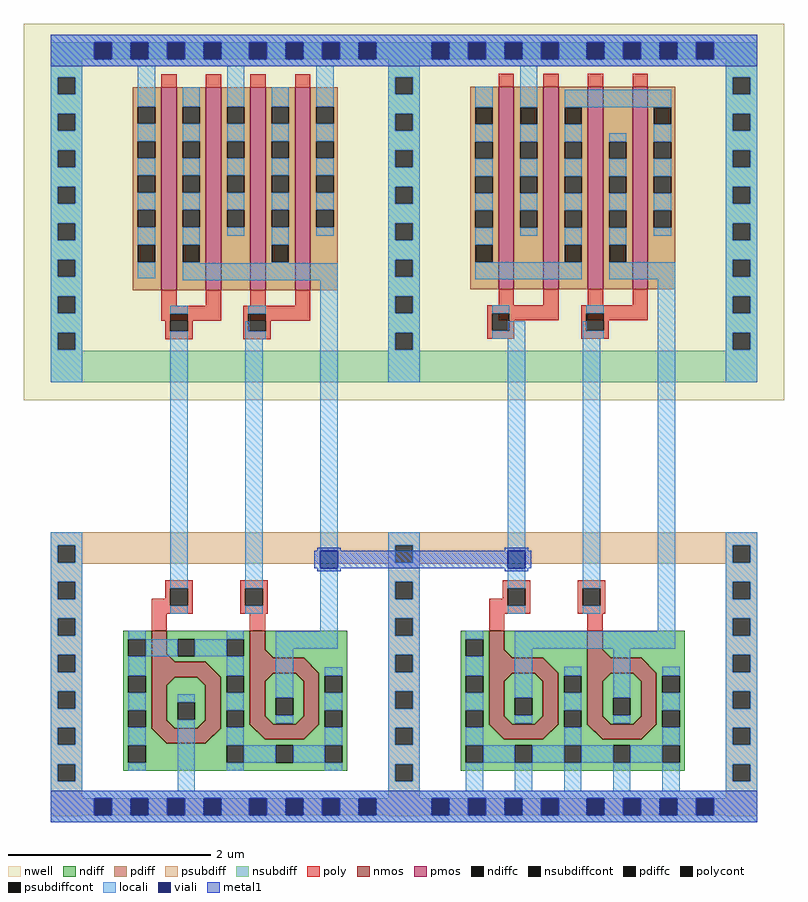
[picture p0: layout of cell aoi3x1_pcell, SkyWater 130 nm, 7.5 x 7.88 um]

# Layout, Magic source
magic
tech sky130A
magscale 1 2
<< metal1 >>
rect 537 501 841 535
use li1_M1_contact  li1_M1_contact_0
transform -1 0 518 0 -1 518
box -53 -33 29 33
use li1_M1_contact  li1_M1_contact_1
transform 1 0 888 0 1 518
box -53 -33 29 33
use nor2x1_pcell  nor2x1_pcell_0
transform 1 0 666 0 1 0
box -84 0 750 1575
use nand2x1_pcell  nand2x1_pcell_0
transform 1 0 0 0 1 0
box -84 0 750 1575
<< end >>

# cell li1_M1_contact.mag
magic
tech sky130
magscale 1 2
<< locali >>
rect -17 17 17 33
rect -17 -33 17 -17
<< viali >>
rect -17 -17 17 17
<< metal1 >>
rect -23 17 23 23
rect -53 -17 -17 17
rect 17 -17 29 17
rect -23 -23 23 -17
<< end >>

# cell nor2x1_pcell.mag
magic
tech sky130A
magscale 1 2
<< nwell >>
rect 84 903 582 1575
rect 83 832 582 903
<< pdiffc >>
rect 141 1377 175 1411
rect 229 1377 263 1411
rect 317 1377 351 1411
rect 493 1377 527 1411
rect 141 1105 175 1139
rect 317 1105 351 1139
rect 405 1105 439 1139
<< psubdiff >>
rect 31 510 635 572
rect 31 13 55 47
rect 89 13 127 47
rect 161 13 199 47
rect 233 13 271 47
rect 305 13 361 47
rect 395 13 433 47
rect 467 13 505 47
rect 539 13 577 47
rect 611 13 635 47
<< nsubdiff >>
rect 31 1505 55 1539
rect 89 1505 127 1539
rect 161 1505 199 1539
rect 233 1505 271 1539
rect 305 1505 361 1539
rect 395 1505 433 1539
rect 467 1505 505 1539
rect 539 1505 577 1539
rect 611 1505 635 1539
rect 31 868 635 930
<< psubdiffcont >>
rect 55 13 89 47
rect 127 13 161 47
rect 199 13 233 47
rect 271 13 305 47
rect 361 13 395 47
rect 433 13 467 47
rect 505 13 539 47
rect 577 13 611 47
<< nsubdiffcont >>
rect 55 1505 89 1539
rect 127 1505 161 1539
rect 199 1505 233 1539
rect 271 1505 305 1539
rect 361 1505 395 1539
rect 433 1505 467 1539
rect 505 1505 539 1539
rect 577 1505 611 1539
<< poly >>
rect 168 403 198 441
rect 362 410 392 411
<< locali >>
rect 31 1539 635 1554
rect 31 1505 55 1539
rect 89 1505 127 1539
rect 161 1505 199 1539
rect 233 1505 271 1539
rect 305 1505 361 1539
rect 395 1505 433 1539
rect 467 1505 505 1539
rect 539 1505 577 1539
rect 611 1505 635 1539
rect 31 1492 635 1505
rect 141 1411 175 1451
rect 141 1359 175 1377
rect 229 1411 263 1492
rect 229 1359 263 1377
rect 317 1411 527 1445
rect 317 1359 351 1377
rect 493 1359 527 1377
rect 141 1139 175 1157
rect 317 1139 351 1157
rect 141 1071 351 1105
rect 405 1139 439 1157
rect 405 1071 535 1105
rect 205 461 239 988
rect 353 954 361 988
rect 353 469 387 954
rect 353 461 357 469
rect 501 376 535 1071
rect 219 342 535 376
rect 219 261 253 342
rect 413 261 447 342
rect 122 62 156 101
rect 219 62 253 117
rect 316 62 350 101
rect 413 62 447 117
rect 510 62 544 101
rect 31 47 635 62
rect 31 13 55 47
rect 89 13 127 47
rect 161 13 199 47
rect 233 13 271 47
rect 305 13 361 47
rect 395 13 433 47
rect 467 13 505 47
rect 539 13 577 47
rect 611 13 635 47
rect 31 0 635 13
<< viali >>
rect 55 1505 89 1539
rect 127 1505 161 1539
rect 199 1505 233 1539
rect 271 1505 305 1539
rect 361 1505 395 1539
rect 433 1505 467 1539
rect 505 1505 539 1539
rect 577 1505 611 1539
rect 55 13 89 47
rect 127 13 161 47
rect 199 13 233 47
rect 271 13 305 47
rect 361 13 395 47
rect 433 13 467 47
rect 505 13 539 47
rect 577 13 611 47
<< metal1 >>
rect 31 1539 635 1554
rect 31 1505 55 1539
rect 89 1505 127 1539
rect 161 1505 199 1539
rect 233 1505 271 1539
rect 305 1505 361 1539
rect 395 1505 433 1539
rect 467 1505 505 1539
rect 539 1505 577 1539
rect 611 1505 635 1539
rect 31 1492 635 1505
rect 31 47 635 62
rect 31 13 55 47
rect 89 13 127 47
rect 161 13 199 47
rect 233 13 271 47
rect 305 13 361 47
rect 395 13 433 47
rect 467 13 505 47
rect 539 13 577 47
rect 611 13 635 47
rect 31 0 635 13
use diff_ring_side  diff_ring_side_1
transform 1 0 0 0 1 0
box -84 0 84 1575
use poly_li1_contact  poly_li1_contact_0
transform 0 1 192 -1 0 988
box -32 -28 34 26
use poly_li1_contact  poly_li1_contact_1
transform 0 1 223 -1 0 445
box -32 -28 34 26
use nmos_top_trim1  nmos_top_trim1_1
transform -1 0 360 0 1 101
box 0 0 248 309
use pmos2_1  pmos2_1_0
transform 1 0 43 0 1 1450
box 52 -460 352 37
use nmos_top_trim2  nmos_top_trim2_0
transform -1 0 554 0 1 101
box 0 0 248 309
use poly_li1_contact  poly_li1_contact_3
transform 0 1 378 -1 0 988
box -32 -28 34 26
use poly_li1_contact  poly_li1_contact_2
transform 0 -1 369 1 0 443
box -32 -28 34 26
use pmos2_1  pmos2_1_1
transform 1 0 219 0 1 1450
box 52 -460 352 37
use diff_ring_side  diff_ring_side_0
transform 1 0 666 0 1 0
box -84 0 84 1575
<< end >>

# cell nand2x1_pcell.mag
magic
tech sky130A
magscale 1 2
<< nwell >>
rect 84 903 582 1575
rect 83 832 582 903
<< pdiffc >>
rect 141 1105 175 1139
rect 229 1105 263 1139
rect 405 1105 439 1139
<< psubdiff >>
rect 31 510 635 572
rect 31 13 55 47
rect 89 13 127 47
rect 161 13 199 47
rect 233 13 271 47
rect 305 13 361 47
rect 395 13 433 47
rect 467 13 505 47
rect 539 13 577 47
rect 611 13 635 47
<< nsubdiff >>
rect 31 1505 55 1539
rect 89 1505 127 1539
rect 161 1505 199 1539
rect 233 1505 271 1539
rect 305 1505 361 1539
rect 395 1505 433 1539
rect 467 1505 505 1539
rect 539 1505 577 1539
rect 611 1505 635 1539
rect 31 868 635 930
<< psubdiffcont >>
rect 55 13 89 47
rect 127 13 161 47
rect 199 13 233 47
rect 271 13 305 47
rect 361 13 395 47
rect 433 13 467 47
rect 505 13 539 47
rect 577 13 611 47
<< nsubdiffcont >>
rect 55 1505 89 1539
rect 127 1505 161 1539
rect 199 1505 233 1539
rect 271 1505 305 1539
rect 361 1505 395 1539
rect 433 1505 467 1539
rect 505 1505 539 1539
rect 577 1505 611 1539
<< poly >>
rect 168 403 198 441
rect 362 410 392 411
<< locali >>
rect 31 1539 635 1554
rect 31 1505 55 1539
rect 89 1505 127 1539
rect 161 1505 199 1539
rect 233 1505 271 1539
rect 305 1505 361 1539
rect 395 1505 433 1539
rect 467 1505 505 1539
rect 539 1505 577 1539
rect 611 1505 635 1539
rect 31 1492 635 1505
rect 141 1139 175 1157
rect 141 1073 175 1105
rect 229 1139 263 1157
rect 229 1103 263 1105
rect 405 1139 439 1157
rect 405 1103 439 1105
rect 229 1069 535 1103
rect 353 954 361 988
rect 205 461 239 954
rect 353 469 387 954
rect 353 461 357 469
rect 501 376 535 1069
rect 413 342 535 376
rect 413 261 447 342
rect 219 62 253 195
rect 31 47 635 62
rect 31 13 55 47
rect 89 13 127 47
rect 161 13 199 47
rect 233 13 271 47
rect 305 13 361 47
rect 395 13 433 47
rect 467 13 505 47
rect 539 13 577 47
rect 611 13 635 47
rect 31 0 635 13
<< viali >>
rect 55 1505 89 1539
rect 127 1505 161 1539
rect 199 1505 233 1539
rect 271 1505 305 1539
rect 361 1505 395 1539
rect 433 1505 467 1539
rect 505 1505 539 1539
rect 577 1505 611 1539
rect 55 13 89 47
rect 127 13 161 47
rect 199 13 233 47
rect 271 13 305 47
rect 361 13 395 47
rect 433 13 467 47
rect 505 13 539 47
rect 577 13 611 47
<< metal1 >>
rect 31 1539 635 1554
rect 31 1505 55 1539
rect 89 1505 127 1539
rect 161 1505 199 1539
rect 233 1505 271 1539
rect 305 1505 361 1539
rect 395 1505 433 1539
rect 467 1505 505 1539
rect 539 1505 577 1539
rect 611 1505 635 1539
rect 31 1492 635 1505
rect 31 47 635 62
rect 31 13 55 47
rect 89 13 127 47
rect 161 13 199 47
rect 233 13 271 47
rect 305 13 361 47
rect 395 13 433 47
rect 467 13 505 47
rect 539 13 577 47
rect 611 13 635 47
rect 31 0 635 13
use diff_ring_side  diff_ring_side_1
transform 1 0 0 0 1 0
box -84 0 84 1575
use nmos_bottom  nmos_bottom_0
transform -1 0 360 0 1 101
box 0 0 248 302
use poly_li1_contact  poly_li1_contact_0
transform 0 1 223 -1 0 987
box -32 -28 34 26
use poly_li1_contact  poly_li1_contact_1
transform 0 1 223 -1 0 445
box -32 -28 34 26
use pmos2  pmos2_0
transform 1 0 43 0 1 1450
box 52 -461 352 42
use poly_li1_contact  poly_li1_contact_3
transform 0 1 377 -1 0 987
box -32 -28 34 26
use poly_li1_contact  poly_li1_contact_2
transform 0 -1 369 1 0 443
box -32 -28 34 26
use pmos2  pmos2_1
transform 1 0 219 0 1 1450
box 52 -461 352 42
use nmos_top_trim1  nmos_top_trim1_0
transform -1 0 554 0 1 101
box 0 0 248 309
use diff_ring_side  diff_ring_side_0
transform 1 0 666 0 1 0
box -84 0 84 1575
<< end >>

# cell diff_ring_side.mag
magic
tech sky130A
magscale 1 2
<< nwell >>
rect -84 832 84 1575
<< psubdiff >>
rect -31 546 31 572
rect -31 512 -17 546
rect 17 512 31 546
rect -31 474 31 512
rect -31 440 -17 474
rect 17 440 31 474
rect -31 402 31 440
rect -31 368 -17 402
rect 17 368 31 402
rect -31 330 31 368
rect -31 296 -17 330
rect 17 296 31 330
rect -31 258 31 296
rect -31 224 -17 258
rect 17 224 31 258
rect -31 186 31 224
rect -31 152 -17 186
rect 17 152 31 186
rect -31 114 31 152
rect -31 80 -17 114
rect 17 80 31 114
rect -31 11 31 80
<< nsubdiff >>
rect -31 1470 31 1539
rect -31 1436 -17 1470
rect 17 1436 31 1470
rect -31 1398 31 1436
rect -31 1364 -17 1398
rect 17 1364 31 1398
rect -31 1326 31 1364
rect -31 1292 -17 1326
rect 17 1292 31 1326
rect -31 1254 31 1292
rect -31 1220 -17 1254
rect 17 1220 31 1254
rect -31 1182 31 1220
rect -31 1148 -17 1182
rect 17 1148 31 1182
rect -31 1110 31 1148
rect -31 1076 -17 1110
rect 17 1076 31 1110
rect -31 1038 31 1076
rect -31 1004 -17 1038
rect 17 1004 31 1038
rect -31 966 31 1004
rect -31 932 -17 966
rect 17 932 31 966
rect -31 868 31 932
<< psubdiffcont >>
rect -17 512 17 546
rect -17 440 17 474
rect -17 368 17 402
rect -17 296 17 330
rect -17 224 17 258
rect -17 152 17 186
rect -17 80 17 114
<< nsubdiffcont >>
rect -17 1436 17 1470
rect -17 1364 17 1398
rect -17 1292 17 1326
rect -17 1220 17 1254
rect -17 1148 17 1182
rect -17 1076 17 1110
rect -17 1004 17 1038
rect -17 932 17 966
<< locali >>
rect -31 1470 31 1554
rect -31 1436 -17 1470
rect 17 1436 31 1470
rect -31 1398 31 1436
rect -31 1364 -17 1398
rect 17 1364 31 1398
rect -31 1326 31 1364
rect -31 1292 -17 1326
rect 17 1292 31 1326
rect -31 1254 31 1292
rect -31 1220 -17 1254
rect 17 1220 31 1254
rect -31 1182 31 1220
rect -31 1148 -17 1182
rect 17 1148 31 1182
rect -31 1110 31 1148
rect -31 1076 -17 1110
rect 17 1076 31 1110
rect -31 1038 31 1076
rect -31 1004 -17 1038
rect 17 1004 31 1038
rect -31 966 31 1004
rect -31 932 -17 966
rect 17 932 31 966
rect -31 868 31 932
rect -31 546 31 572
rect -31 512 -17 546
rect 17 512 31 546
rect -31 474 31 512
rect -31 440 -17 474
rect 17 440 31 474
rect -31 402 31 440
rect -31 368 -17 402
rect 17 368 31 402
rect -31 330 31 368
rect -31 296 -17 330
rect 17 296 31 330
rect -31 258 31 296
rect -31 224 -17 258
rect 17 224 31 258
rect -31 186 31 224
rect -31 152 -17 186
rect 17 152 31 186
rect -31 114 31 152
rect -31 80 -17 114
rect 17 80 31 114
rect -31 0 31 80
<< metal1 >>
rect -31 1492 31 1554
rect -31 0 31 62
<< end >>

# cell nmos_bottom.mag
magic
tech sky130A
magscale 1 2
<< nmos >>
tri 146 215 162 231 se
rect 162 215 192 276
tri 56 185 86 215 se
rect 86 185 192 215
rect 56 84 86 185
tri 86 169 102 185 nw
tri 146 169 162 185 ne
tri 86 84 102 100 sw
tri 146 84 162 100 se
rect 162 84 192 185
tri 56 54 86 84 ne
rect 86 54 162 84
tri 162 54 192 84 nw
<< ndiff >>
rect 0 260 162 276
rect 0 226 10 260
rect 44 226 107 260
rect 141 231 162 260
rect 141 226 146 231
rect 0 215 146 226
tri 146 215 162 231 nw
rect 192 260 248 276
rect 192 226 204 260
rect 238 226 248 260
rect 0 188 56 215
rect 0 154 10 188
rect 44 154 56 188
tri 56 185 86 215 nw
rect 192 188 248 226
rect 0 120 56 154
rect 0 86 10 120
rect 44 86 56 120
rect 0 54 56 86
tri 86 169 102 185 se
rect 102 169 146 185
tri 146 169 162 185 sw
rect 86 135 162 169
rect 86 101 107 135
rect 141 101 162 135
rect 86 100 162 101
tri 86 84 102 100 ne
rect 102 84 146 100
tri 146 84 162 100 nw
rect 192 154 204 188
rect 238 154 248 188
rect 192 120 248 154
rect 192 86 204 120
rect 238 86 248 120
tri 56 54 86 84 sw
tri 162 54 192 84 se
rect 192 54 248 86
rect 0 50 248 54
rect 0 16 10 50
rect 44 16 204 50
rect 238 16 248 50
rect 0 0 248 16
<< ndiffc >>
rect 10 226 44 260
rect 107 226 141 260
rect 204 226 238 260
rect 10 154 44 188
rect 10 86 44 120
rect 107 101 141 135
rect 204 154 238 188
rect 204 86 238 120
rect 10 16 44 50
rect 204 16 238 50
<< poly >>
rect 162 276 192 302
<< locali >>
rect 10 260 44 276
rect 204 260 238 276
rect 44 226 107 260
rect 141 226 204 260
rect 10 188 44 226
rect 10 120 44 154
rect 204 188 238 226
rect 10 50 44 86
rect 107 135 141 151
rect 107 85 141 101
rect 204 120 238 154
rect 10 0 44 16
rect 204 50 238 86
rect 204 0 238 16
<< end >>

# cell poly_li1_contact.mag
magic
tech sky130A
<< poly >>
rect -16 8 17 13
rect -16 -9 -8 8
rect 9 -9 17 8
rect -16 -14 17 -9
<< polycont >>
rect -8 -9 9 8
<< locali >>
rect -16 -9 -8 8
rect 9 -9 17 8
<< end >>

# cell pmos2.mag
magic
tech sky130
magscale 1 2
<< nwell >>
rect 52 -436 352 36
<< pmos >>
rect 144 -400 174 0
rect 232 -400 262 0
<< pdiff >>
rect 88 -38 144 0
rect 88 -72 98 -38
rect 132 -72 144 -38
rect 88 -106 144 -72
rect 88 -140 98 -106
rect 132 -140 144 -106
rect 88 -174 144 -140
rect 88 -208 98 -174
rect 132 -208 144 -174
rect 88 -242 144 -208
rect 88 -276 98 -242
rect 132 -276 144 -242
rect 88 -400 144 -276
rect 174 -38 232 0
rect 174 -72 186 -38
rect 220 -72 232 -38
rect 174 -106 232 -72
rect 174 -140 186 -106
rect 220 -140 232 -106
rect 174 -174 232 -140
rect 174 -208 186 -174
rect 220 -208 232 -174
rect 174 -242 232 -208
rect 174 -276 186 -242
rect 220 -276 232 -242
rect 174 -400 232 -276
rect 262 -38 316 0
rect 262 -72 274 -38
rect 308 -72 316 -38
rect 262 -106 316 -72
rect 262 -140 274 -106
rect 308 -140 316 -106
rect 262 -174 316 -140
rect 262 -208 274 -174
rect 308 -208 316 -174
rect 262 -242 316 -208
rect 262 -276 274 -242
rect 308 -276 316 -242
rect 262 -400 316 -276
<< pdiffc >>
rect 98 -72 132 -38
rect 98 -140 132 -106
rect 98 -208 132 -174
rect 98 -276 132 -242
rect 186 -72 220 -38
rect 186 -140 220 -106
rect 186 -208 220 -174
rect 186 -276 220 -242
rect 274 -72 308 -38
rect 274 -140 308 -106
rect 274 -208 308 -174
rect 274 -276 308 -242
<< poly >>
rect 144 0 174 26
rect 232 0 262 26
rect 144 -431 174 -400
rect 232 -431 262 -400
rect 144 -461 262 -431
<< locali >>
rect 98 -38 132 42
rect 98 -106 132 -72
rect 98 -174 132 -140
rect 98 -242 132 -208
rect 98 -293 132 -276
rect 186 -38 220 0
rect 186 -106 220 -72
rect 186 -174 220 -140
rect 186 -242 220 -208
rect 186 -293 220 -276
rect 274 -38 308 42
rect 274 -106 308 -72
rect 274 -174 308 -140
rect 274 -242 308 -208
rect 274 -293 308 -276
<< end >>

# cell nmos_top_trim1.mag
magic
tech sky130A
magscale 1 2
<< nmos >>
tri 146 223 162 239 se
rect 162 223 192 276
tri 56 193 86 223 se
rect 86 193 192 223
rect 56 92 86 193
tri 86 177 102 193 nw
tri 146 177 162 193 ne
tri 86 92 102 108 sw
tri 146 92 162 108 se
rect 162 92 192 193
tri 56 62 86 92 ne
rect 86 62 162 92
tri 162 62 192 92 nw
<< ndiff >>
rect 0 239 162 276
rect 0 223 146 239
tri 146 223 162 239 nw
rect 192 260 248 276
rect 192 226 204 260
rect 238 226 248 260
rect 0 188 56 223
tri 56 193 86 223 nw
rect 0 154 10 188
rect 44 154 56 188
rect 0 120 56 154
rect 0 86 10 120
rect 44 86 56 120
tri 86 177 102 193 se
rect 102 177 146 193
tri 146 177 162 193 sw
rect 86 144 162 177
rect 86 110 107 144
rect 141 110 162 144
rect 86 108 162 110
tri 86 92 102 108 ne
rect 102 92 146 108
tri 146 92 162 108 nw
rect 192 188 248 226
rect 192 154 204 188
rect 238 154 248 188
rect 192 120 248 154
rect 0 62 56 86
tri 56 62 86 92 sw
tri 162 62 192 92 se
rect 192 86 204 120
rect 238 86 248 120
rect 192 62 248 86
rect 0 50 248 62
rect 0 16 10 50
rect 44 16 107 50
rect 141 16 204 50
rect 238 16 248 50
rect 0 0 248 16
<< ndiffc >>
rect 204 226 238 260
rect 10 154 44 188
rect 10 86 44 120
rect 107 110 141 144
rect 204 154 238 188
rect 204 86 238 120
rect 10 16 44 50
rect 107 16 141 50
rect 204 16 238 50
<< poly >>
rect 162 276 192 309
<< locali >>
rect 204 260 238 276
rect 10 188 44 204
rect 204 188 238 226
rect 10 120 44 154
rect 107 144 141 161
rect 107 94 141 110
rect 204 120 238 154
rect 10 50 44 86
rect 204 50 238 86
rect 44 16 107 50
rect 141 16 204 50
rect 10 0 44 16
rect 204 0 238 16
<< end >>

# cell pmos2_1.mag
magic
tech sky130
magscale 1 2
<< nwell >>
rect 52 -435 352 37
<< pmos >>
rect 144 -399 174 1
rect 232 -399 262 1
<< pdiff >>
rect 88 -107 144 1
rect 88 -141 98 -107
rect 132 -141 144 -107
rect 88 -175 144 -141
rect 88 -209 98 -175
rect 132 -209 144 -175
rect 88 -243 144 -209
rect 88 -277 98 -243
rect 132 -277 144 -243
rect 88 -399 144 -277
rect 174 -107 232 1
rect 174 -141 186 -107
rect 220 -141 232 -107
rect 174 -175 232 -141
rect 174 -209 186 -175
rect 220 -209 232 -175
rect 174 -243 232 -209
rect 174 -277 186 -243
rect 220 -277 232 -243
rect 174 -399 232 -277
rect 262 -107 316 1
rect 262 -141 274 -107
rect 308 -141 316 -107
rect 262 -175 316 -141
rect 262 -209 274 -175
rect 308 -209 316 -175
rect 262 -243 316 -209
rect 262 -277 274 -243
rect 308 -277 316 -243
rect 262 -399 316 -277
<< pdiffc >>
rect 98 -141 132 -107
rect 98 -209 132 -175
rect 98 -277 132 -243
rect 186 -141 220 -107
rect 186 -209 220 -175
rect 186 -277 220 -243
rect 274 -141 308 -107
rect 274 -209 308 -175
rect 274 -277 308 -243
<< poly >>
rect 144 1 174 27
rect 232 1 262 27
rect 144 -430 174 -399
rect 232 -430 262 -399
rect 144 -460 262 -430
<< locali >>
rect 98 -107 132 -91
rect 98 -175 132 -141
rect 98 -243 132 -209
rect 98 -293 132 -277
rect 186 -107 220 -91
rect 186 -175 220 -141
rect 186 -243 220 -209
rect 186 -293 220 -277
rect 274 -107 308 -91
rect 274 -175 308 -141
rect 274 -243 308 -209
rect 274 -293 308 -277
<< end >>

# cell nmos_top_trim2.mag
magic
tech sky130A
magscale 1 2
<< nmos >>
tri 146 223 162 239 se
rect 162 223 192 276
tri 56 193 86 223 se
rect 86 193 192 223
rect 56 178 87 193
tri 87 178 102 193 nw
tri 146 178 161 193 ne
rect 161 178 192 193
rect 56 92 86 178
tri 86 92 102 108 sw
tri 146 92 162 108 se
rect 162 92 192 178
tri 56 62 86 92 ne
rect 86 62 162 92
tri 162 62 192 92 nw
<< ndiff >>
rect 0 239 162 276
rect 0 223 146 239
tri 146 223 162 239 nw
rect 0 188 56 223
tri 56 193 86 223 nw
rect 0 154 10 188
rect 44 154 56 188
tri 87 178 102 193 se
rect 102 178 146 193
tri 146 178 161 193 sw
rect 192 188 248 276
rect 0 120 56 154
rect 0 86 10 120
rect 44 86 56 120
rect 86 144 162 178
rect 86 110 107 144
rect 141 110 162 144
rect 86 108 162 110
tri 86 92 102 108 ne
rect 102 92 146 108
tri 146 92 162 108 nw
rect 192 154 204 188
rect 238 154 248 188
rect 192 120 248 154
rect 0 62 56 86
tri 56 62 86 92 sw
tri 162 62 192 92 se
rect 192 86 204 120
rect 238 86 248 120
rect 192 62 248 86
rect 0 50 248 62
rect 0 16 10 50
rect 44 16 107 50
rect 141 16 204 50
rect 238 16 248 50
rect 0 0 248 16
<< ndiffc >>
rect 10 154 44 188
rect 10 86 44 120
rect 107 110 141 144
rect 204 154 238 188
rect 204 86 238 120
rect 10 16 44 50
rect 107 16 141 50
rect 204 16 238 50
<< poly >>
rect 162 276 192 309
<< locali >>
rect 10 188 44 205
rect 204 188 238 205
rect 10 120 44 154
rect 107 144 141 161
rect 107 94 141 110
rect 204 120 238 154
rect 10 50 44 86
rect 204 50 238 86
rect 44 16 107 50
rect 141 16 204 50
rect 10 0 44 16
rect 204 0 238 16
<< end >>
